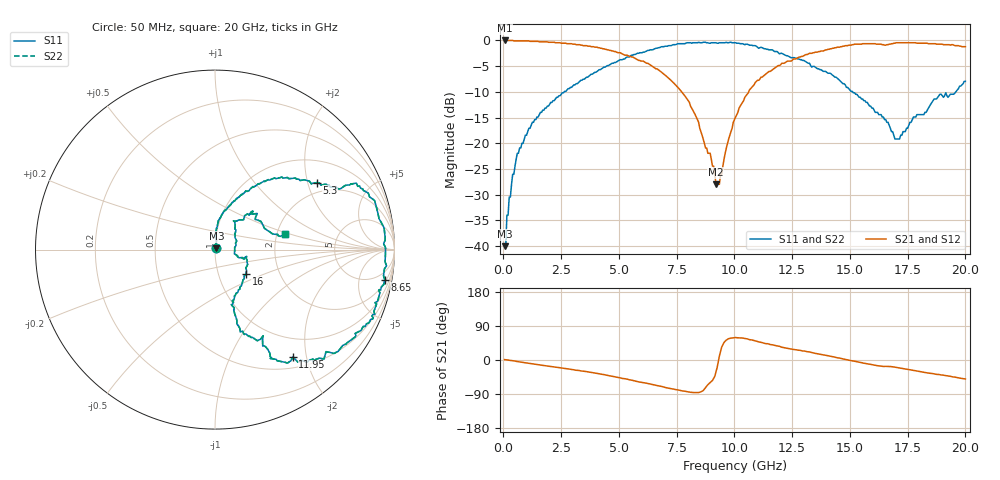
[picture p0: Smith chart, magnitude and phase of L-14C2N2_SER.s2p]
# MHZ S MA R 50
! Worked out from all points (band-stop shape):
!   400 points, 50 MHz to 20 GHz, reference 50 ohm
!   highest |S21| = 0.00 dB at 50 MHz (marker M1); lowest = -28.0 dB at 9.2 GHz (marker M2)
!   |S21| within 3 dB of the highest: start of sweep to 5.41 GHz; 12.99 GHz to end of sweep
!   lowest |S11| = -40.0 dB at 50 MHz (marker M3), VSWR 1.02, Z = 50.8 + j0.671 ohm
!   |S11| at or under -10 dB: start of sweep to 2.631 GHz; 15.12 GHz to 19.58 GHz (4.463 GHz wide, 25.7 % of centre)
!   |S22| runs from -40.0 to -0.4 dB; largest |S21 - S12| = 0
!   S11 on the Smith chart (normalised r, x): 50 MHz: 1.02, +0.01; 5.3 GHz: 1.65, +2.29; 8.65 GHz: 3, -11; 11.95 GHz: 0.67, -1.76; 16 GHz: 1.36, -0.39; 20 GHz: 2.22, +0.45
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50  0.01 41.4  1 1.0  1 1.0  0.01 41.4
150  0.02 79.9  1 0.4  1 0.4  0.02 79.9
400  0.05 80.2  1 -1.9  1 -1.9  0.05 80.2
950  0.12 86.1  0.99 -7.3  0.99 -7.3  0.12 86.1
3400  0.41 58.2  0.9 -29.1  0.9 -29.1  0.41 58.2
5300  0.68 33.3  0.72 -49.9  0.72 -49.9  0.68 33.3
6700  0.85 25.6  0.52 -68.2  0.52 -68.2  0.85 25.6
8050  0.95 4.5  0.25 -84.9  0.25 -84.9  0.95 4.5
8650  0.96 -10.0  0.11 -80.6  0.11 -80.6  0.96 -10.0
8950  0.94 -14.0  0.08 -59.3  0.08 -59.3  0.94 -14.0
9200  0.95 -17.6  0.04 -31.7  0.04 -31.7  0.95 -17.6
9350  0.95 -18.6  0.04 10.8  0.04 10.8  0.95 -18.6
10050  0.95 -25.4  0.18 59.3  0.18 59.3  0.95 -25.4
10900  0.89 -39.6  0.39 50.6  0.39 50.6  0.89 -39.6
11950  0.74 -54.1  0.57 36.2  0.57 36.2  0.74 -54.1
13350  0.55 -60.8  0.75 19.6  0.75 19.6  0.55 -60.8
15050  0.32 -73.5  0.9 -1.7  0.9 -1.7  0.32 -73.5
16000  0.22 -37.9  0.93 -12.7  0.93 -12.7  0.22 -37.9
16700  0.15 -17.5  0.92 -17.2  0.92 -17.2  0.15 -17.5
17150  0.11 5.6  0.95 -21.2  0.95 -21.2  0.11 5.6
18900  0.3 45.6  0.92 -38.9  0.92 -38.9  0.3 45.6
20000  0.4 12.2  0.87 -50.2  0.87 -50.2  0.4 12.2
